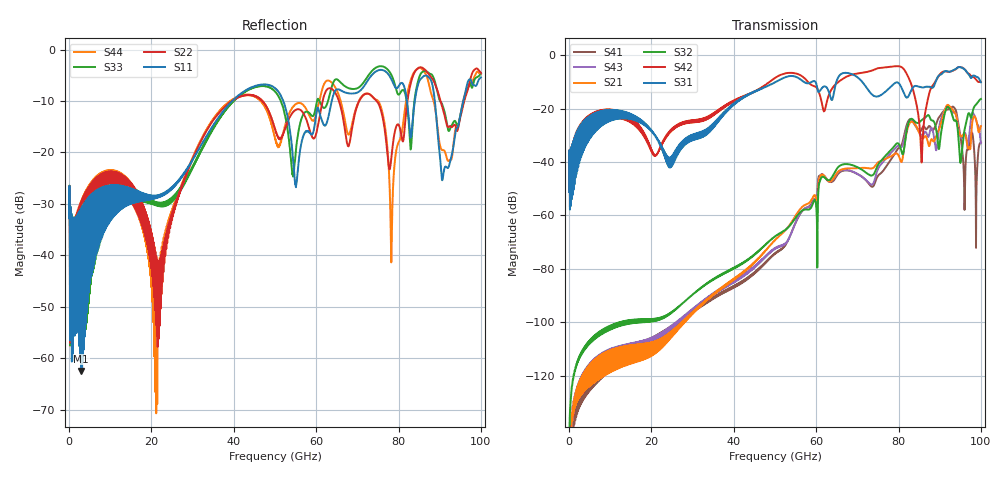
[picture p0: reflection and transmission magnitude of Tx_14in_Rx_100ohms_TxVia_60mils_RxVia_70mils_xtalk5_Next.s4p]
! Info: Touchstone file created by Circ.  Input file=Tx_14in_Rx_100ohms_TxVia_60mils_RxVia_70mils.circ
# Hz S RI R 50
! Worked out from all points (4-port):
!   10000 points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, 10 MHz to 100 GHz, reference 50 ohm
!   strongest paths, dB at 10 MHz, 25.01 GHz, 50.01 GHz, 75.01 GHz, 100 GHz:
!     S31: -51.2, -39.3, -10.1, -15.4, -10.1
!     S42: -51.2, -27.5, -8.5, -4.9, -10.0
!     S32: -156.9, -96.4, -67.8, -41.1, -16.4
!     S21: -167.7, -104.3, -69.2, -40.1, -26.6
!     S43: -158.1, -102.0, -72.2, -42.6, -33.0
!     S41: -158.5, -101.5, -74.1, -45.2, -32.9
!   lowest |S11| = -62.5 dB at 2.93 GHz (marker M1), VSWR 1.00, Z = 49.9 + j0.0191 ohm
!   |S11| at or under -10 dB: start of sweep to 39.57 GHz; 52.03 GHz to 63.78 GHz (11.75 GHz wide, 20.3 % of centre); 88.82 GHz to 95.74 GHz (6.921 GHz wide, 7.5 % of centre)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
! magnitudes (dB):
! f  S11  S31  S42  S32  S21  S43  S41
! 10 MHz  -32.8  -51.2  -51.2  -156.9  -167.7  -158.1  -158.5
! 2.93 GHz  -62.5  -36.3  -33.5  -111.4  -121.8  -121.2  -128.2
! 21.16 GHz  -28.7  -30.8  -37.5  -98.7  -111.3  -108.8  -105.6
! 40.09 GHz  -9.6  -17.9  -16.8  -79.9  -84.0  -84.9  -86.9
! 78.27 GHz  -5.8  -11.6  -4.3  -35.4  -37.8  -36.5  -38.8
! 85.59 GHz  -5.6  -12.1  -40.1  -24.4  -31.1  -30.1  -27.8
! 100 GHz  -5.4  -10.1  -10.0  -16.4  -26.6  -33.0  -32.9
